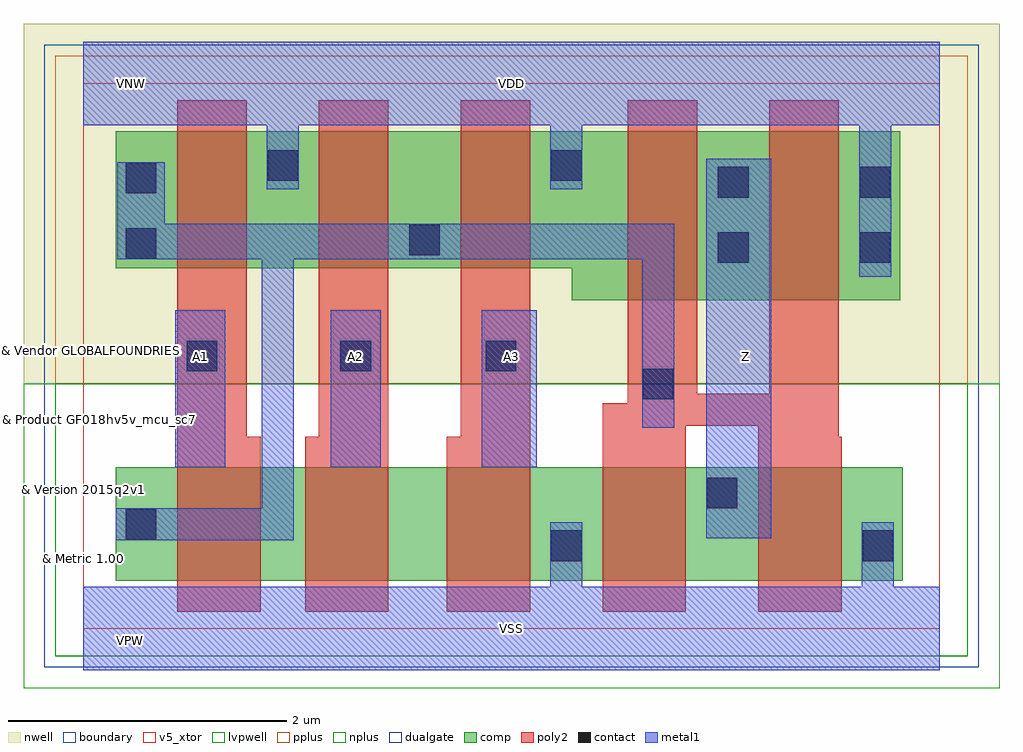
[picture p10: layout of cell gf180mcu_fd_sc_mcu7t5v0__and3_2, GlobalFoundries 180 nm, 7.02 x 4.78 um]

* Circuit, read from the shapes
.subckt gf180mcu_fd_sc_mcu7t5v0__and3_2 A1 A2 A3 VDD VNW VSS Z
XM1 n1 A1 n2 VSUBS nfet_05v0 w=0.815u l=0.6u
XM2 n3 A2 n1 VSUBS nfet_05v0 w=0.815u l=0.6u
XM3 VSS A3 n3 VSUBS nfet_05v0 w=0.815u l=0.6u
XM4 Z n2 VSS VSUBS nfet_05v0 w=0.815u l=0.6u m=2
XM5 VDD A1 n2 VNW pfet_05v0 w=0.985u l=0.5u
XM6 n2 A2 VDD VNW pfet_05v0 w=0.985u l=0.5u
XM7 VDD A3 n2 VNW pfet_05v0 w=0.985u l=0.5u
XM8 Z n2 VDD VNW pfet_05v0 w=1.215u l=0.5u m=2
.ends

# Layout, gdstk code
import gdstk
lib = gdstk.Library(unit=1e-6, precision=1e-09)
def R(c, l, rs):  # rectangles x0, y0, x1, y1
    for r in rs: c.add(gdstk.rectangle(r[:2], r[2:], *l))
def P(c, l, *ps):  # polygons
    for p in ps: c.add(gdstk.Polygon(p, *l))
boundary = (0, 0)
nwell = (21, 0)
comp = (22, 0)
poly2 = (30, 0)
pplus = (31, 0)
nplus = (32, 0)
contact = (33, 0)
metal1 = (34, 0)
dualgate = (55, 0)
v5_xtor = (112, 1)
lvpwell = (204, 0)

gf180mcu_fd_sc_mcu7t5v0_ = lib.new_cell('gf180mcu_fd_sc_mcu7t5v0__and3_2')
R(gf180mcu_fd_sc_mcu7t5v0_, boundary, [(0,0,6.16,3.92)])
R(gf180mcu_fd_sc_mcu7t5v0_, nwell, [(-0.43,1.76,6.59,4.35)])
R(gf180mcu_fd_sc_mcu7t5v0_, comp, [(0.235,0.345,5.895,1.16)])
P(gf180mcu_fd_sc_mcu7t5v0_, comp, [(3.515,2.36),(3.515,2.59),(0.235,2.59),(0.235,3.575),(5.875,3.575),(5.875,2.36)])
P(gf180mcu_fd_sc_mcu7t5v0_, poly2, [(3.735,0.12),(3.735,1.62),(3.915,1.62),(3.915,3.8),(4.415,3.8),(4.415,1.69),(4.935,1.69),(4.935,3.8),(5.435,3.8),(5.435,1.38),(5.455,1.38),(5.455,0.12),(4.855,0.12),(4.855,1.46),(4.335,1.46),(4.335,0.12)],
  [(1.595,0.12),(1.595,1.38),(1.695,1.38),(1.695,3.8),(2.195,3.8),(2.195,0.12)],
  [(2.615,0.12),(2.615,1.38),(2.715,1.38),(2.715,3.8),(3.215,3.8),(3.215,0.12)],
  [(0.675,0.12),(0.675,3.8),(1.175,3.8),(1.175,1.38),(1.275,1.38),(1.275,0.12)])
R(gf180mcu_fd_sc_mcu7t5v0_, pplus, [(-0.2,1.76,6.36,4.12)])
R(gf180mcu_fd_sc_mcu7t5v0_, nplus, [(-0.2,-0.2,6.36,1.76)])
R(gf180mcu_fd_sc_mcu7t5v0_, contact, [(3.365,0.485,3.585,0.705), (5.605,0.485,5.825,0.705), (0.305,0.64,0.525,0.86), (4.485,0.865,4.705,1.085), (4.025,1.65,4.245,1.87), (0.745,1.85,0.965,2.07), (1.85,1.85,2.07,2.07), (2.895,1.85,3.115,2.07), (4.565,2.63,4.785,2.85), (5.585,2.63,5.805,2.85), (0.305,2.66,0.525,2.88), (2.345,2.685,2.565,2.905), (4.565,3.1,4.785,3.32), (5.585,3.1,5.805,3.32), (0.305,3.13,0.525,3.35), (1.325,3.22,1.545,3.44), (3.365,3.22,3.585,3.44)])
R(gf180mcu_fd_sc_mcu7t5v0_, metal1, [(4.48,0.65,4.95,3.38), (0.66,1.16,1.02,2.29), (1.78,1.16,2.14,2.29), (2.865,1.16,3.26,2.29)])
P(gf180mcu_fd_sc_mcu7t5v0_, metal1, [(5.58,2.53),(5.58,3.62),(3.59,3.62),(3.59,3.16),(3.36,3.16),(3.36,3.62),(1.55,3.62),(1.55,3.16),(1.32,3.16),(1.32,3.62),(0,3.62),(0,4.22),(6.16,4.22),(6.16,3.62),(5.81,3.62),(5.81,2.53)],
  [(0,-0.3),(0,0.3),(3.36,0.3),(3.36,0.765),(3.59,0.765),(3.59,0.3),(5.6,0.3),(5.6,0.765),(5.83,0.765),(5.83,0.3),(6.16,0.3),(6.16,-0.3)],
  [(0.235,0.635),(0.235,0.865),(1.285,0.865),(1.285,2.655),(0.245,2.655),(0.245,3.355),(0.585,3.355),(0.585,2.91),(4.25,2.91),(4.25,1.445),(4.02,1.445),(4.02,2.655),(1.515,2.655),(1.515,0.635)])
R(gf180mcu_fd_sc_mcu7t5v0_, dualgate, [(-0.28,-0.28,6.44,4.2)])
R(gf180mcu_fd_sc_mcu7t5v0_, v5_xtor, [(0,0,6.16,3.92)])
R(gf180mcu_fd_sc_mcu7t5v0_, lvpwell, [(-0.43,-0.43,6.59,1.76)])
gf180mcu_fd_sc_mcu7t5v0_.add(gdstk.Label('A2', (1.96,1.96), layer=34, texttype=10))
gf180mcu_fd_sc_mcu7t5v0_.add(gdstk.Label('A1', (0.84,1.96), layer=34, texttype=10))
gf180mcu_fd_sc_mcu7t5v0_.add(gdstk.Label('Z', (4.76,1.96), layer=34, texttype=10))
gf180mcu_fd_sc_mcu7t5v0_.add(gdstk.Label('VSS', (3.08,0), layer=34, texttype=10))
gf180mcu_fd_sc_mcu7t5v0_.add(gdstk.Label('VDD', (3.08,3.92), layer=34, texttype=10))
gf180mcu_fd_sc_mcu7t5v0_.add(gdstk.Label('A3', (3.08,1.96), layer=34, texttype=10))
gf180mcu_fd_sc_mcu7t5v0_.add(gdstk.Label('& Metric 1.00', (0,0.5), layer=63, texttype=63))
gf180mcu_fd_sc_mcu7t5v0_.add(gdstk.Label('& Version 2015q2v1', (0,1), layer=63, texttype=63))
gf180mcu_fd_sc_mcu7t5v0_.add(gdstk.Label('& Product GF018hv5v_mcu_sc7', (0,1.5), layer=63, texttype=63))
gf180mcu_fd_sc_mcu7t5v0_.add(gdstk.Label('& Vendor GLOBALFOUNDRIES', (0,2), layer=63, texttype=63))
gf180mcu_fd_sc_mcu7t5v0_.add(gdstk.Label('VNW', (0.345,3.92), layer=21, texttype=10))
gf180mcu_fd_sc_mcu7t5v0_.add(gdstk.Label('VPW', (0.34,-0.085), layer=204, texttype=10))

lib.write_gds('gf180mcu_fd_sc_mcu7t5v0__and3_2.gds')
